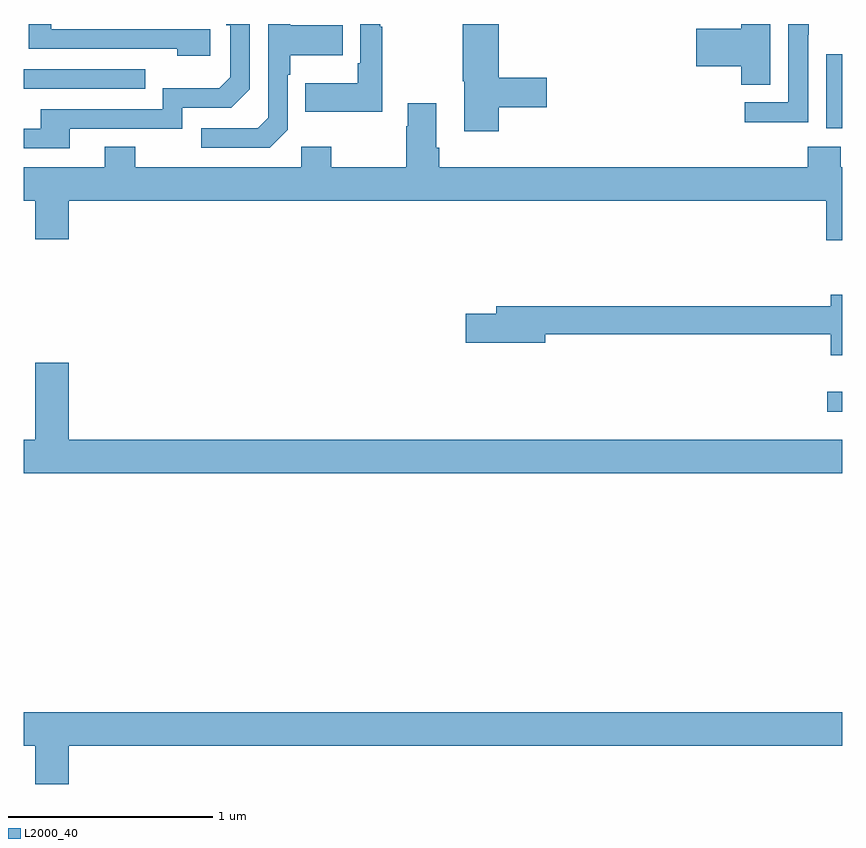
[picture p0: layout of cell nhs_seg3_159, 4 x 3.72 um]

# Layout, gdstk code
import gdstk
lib = gdstk.Library(unit=1e-6, precision=1e-09)
def R(c, l, rs):  # rectangles x0, y0, x1, y1
    for r in rs: c.add(gdstk.rectangle(r[:2], r[2:], *l))
def P(c, l, *ps):  # polygons
    for p in ps: c.add(gdstk.Polygon(p, *l))
L2000_40 = (2000, 40)

nhs_seg3_159 = lib.new_cell('nhs_seg3_159')
R(nhs_seg3_159, L2000_40, [(120.927,746.504,121,746.601), (120.923,747.89,121,748.251), (117,748.083,117.593,748.179)])
P(nhs_seg3_159, L2000_40, [(118.29,747.882),(118.29,748.151),(118.303,748.151),(118.303,748.247),(118.559,748.247),(118.559,748.395),(118.303,748.395),(118.303,748.4),(118.194,748.4),(118.194,747.942),(118.143,747.891),(117.867,747.891),(117.867,747.795),(118.203,747.795)],
  [(117.91,748.374),(117.133,748.374),(117.133,748.4),(117.024,748.4),(117.024,748.278),(117.749,748.278),(117.749,748.244),(117.91,748.244)],
  [(120.649,748.4),(120.506,748.4),(120.506,748.376),(120.288,748.376),(120.288,748.193),(120.506,748.193),(120.506,748.102),(120.649,748.102)],
  [(118.753,748.387),(118.741,748.387),(118.741,748.4),(118.644,748.4),(118.644,748.207),(118.632,748.207),(118.632,748.111),(118.375,748.111),(118.375,747.971),(118.753,747.971)],
  [(119.321,747.994),(119.557,747.994),(119.557,748.136),(119.321,748.136),(119.321,748.4),(119.146,748.4),(119.146,748.119),(119.153,748.119),(119.153,747.876),(119.321,747.876)],
  [(120.834,748.348),(120.837,748.348),(120.837,748.4),(120.738,748.4),(120.738,748.017),(120.525,748.017),(120.525,747.919),(120.834,747.919)],
  [(117.223,747.888),(117.774,747.888),(117.774,747.99),(118.014,747.99),(118.104,748.08),(118.104,748.4),(117.988,748.4),(117.988,748.394),(118.008,748.394),(118.008,748.14),(117.955,748.087),(117.678,748.087),(117.678,747.984),(117.083,747.984),(117.083,747.888),(117,747.888),(117,747.792),(117.223,747.792)],
  [(121,747.7),(120.993,747.7),(120.993,747.799),(120.833,747.799),(120.833,747.7),(119.03,747.7),(119.03,747.796),(119.017,747.796),(119.017,748.012),(118.877,748.012),(118.877,747.899),(118.87,747.899),(118.87,747.7),(118.503,747.7),(118.503,747.799),(118.356,747.799),(118.356,747.7),(117.543,747.7),(117.543,747.799),(117.395,747.799),(117.395,747.7),(117,747.7),(117,747.536),(117.056,747.536),(117.056,747.348),(117.22,747.348),(117.22,747.536),(120.923,747.536),(120.923,747.342),(121,747.342)],
  [(121,747.076),(120.944,747.076),(120.944,747.02),(119.309,747.02),(119.309,746.984),(119.16,746.984),(119.16,746.842),(119.548,746.842),(119.548,746.884),(120.944,746.884),(120.944,746.78),(121,746.78)],
  [(121,746.368),(117.22,746.368),(117.22,746.743),(117.056,746.743),(117.056,746.368),(117,746.368),(117,746.204),(121,746.204)],
  [(117.22,744.872),(121,744.872),(121,745.036),(117,745.036),(117,744.872),(117.056,744.872),(117.056,744.684),(117.22,744.684)])

lib.write_gds('nhs_seg3_159.gds')
